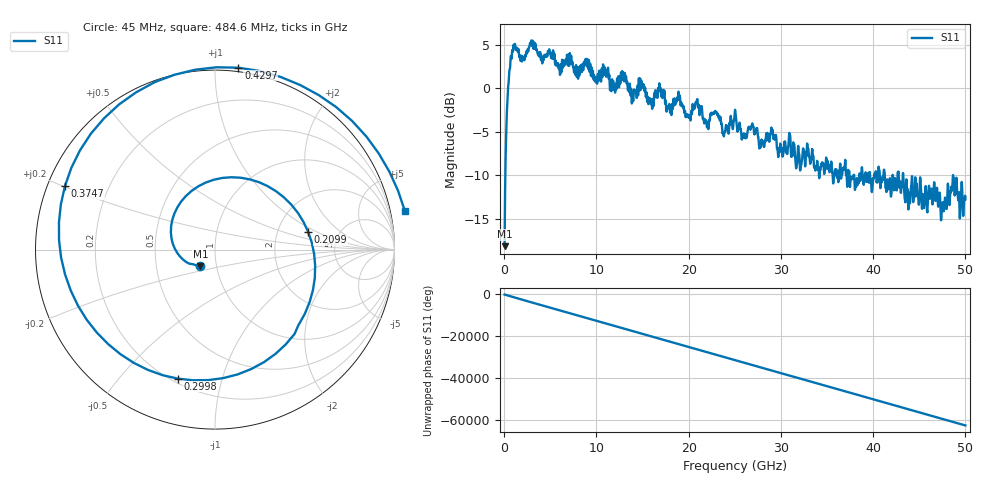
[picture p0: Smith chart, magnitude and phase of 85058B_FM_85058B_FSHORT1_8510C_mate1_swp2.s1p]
!Created with skrf (http://scikit-rf.org).
# Hz S RI R 50.0
!freq ReS11 ImS11
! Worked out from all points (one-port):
!   10001 points, 45 MHz to 50 GHz, reference 50 ohm
!   lowest |S11| = -18.1 dB at 45 MHz (marker M1), VSWR 1.28, Z = 41.8 - j7.92 ohm
!   |S11| at or under -10 dB: 41.26 GHz to 42.1 GHz (842 MHz wide, 2.02 % of centre); 43.26 GHz to 48.65 GHz (5.393 GHz wide, 11.7 % of centre); 48.67 GHz to end of sweep (the widest 3 of 23)
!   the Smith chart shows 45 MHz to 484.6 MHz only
!   S11 on the Smith chart (normalised r, x): 45 MHz: 0.84, -0.16; 209.9 MHz: 3.00, +0.81; 299.8 MHz: 0.22, -0.73; 374.7 MHz: 0.05, +0.20; 429.7 MHz: -0.02, +1.14; 484.6 MHz: -3.37, +8.71
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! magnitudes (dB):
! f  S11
! 45 MHz  -18.1
! 209.9 MHz  -5.5
! 299.8 MHz  -2.5
! 374.7 MHz  -0.8
! 429.7 MHz  0.2
! 484.6 MHz  0.7
! 1.169 GHz  5.1
! 6.289 GHz  3.2
! 12.53 GHz  1.2
! 15.85 GHz  -1.2
! 18.78 GHz  -1.1
! 19.99 GHz  -3.1
! 20.9 GHz  -1.4
! 21.93 GHz  -3.9
! 22.96 GHz  -2.8
! 23.78 GHz  -5.4
! 25.02 GHz  -2.5
! 25.96 GHz  -5.3
! 26.8 GHz  -4.4
! 27.85 GHz  -6.3
! 29.04 GHz  -4.9
! 31.27 GHz  -7.6
! 37.51 GHz  -11.1
! 43.76 GHz  -12.4
! 46.75 GHz  -12.9
! 47.52 GHz  -13.2
! 48.83 GHz  -12.3
! 50 GHz  -12.8
